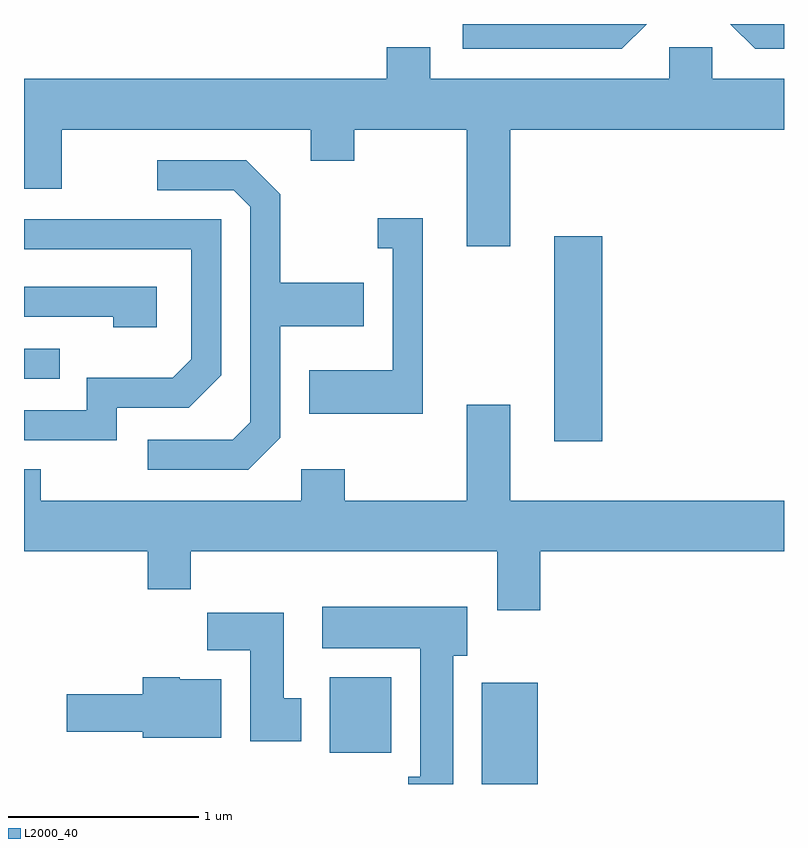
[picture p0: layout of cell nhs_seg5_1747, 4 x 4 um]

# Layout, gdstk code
import gdstk
lib = gdstk.Library(unit=1e-6, precision=1e-09)
def R(c, l, rs):  # rectangles x0, y0, x1, y1
    for r in rs: c.add(gdstk.rectangle(r[:2], r[2:], *l))
def P(c, l, *ps):  # polygons
    for p in ps: c.add(gdstk.Polygon(p, *l))
L2000_40 = (2000, 40)

nhs_seg5_1747 = lib.new_cell('nhs_seg5_1747')
R(nhs_seg5_1747, L2000_40, [(240.021,1400.072,240.314,1400.604), (239.221,1400.236,239.544,1400.634), (240.401,1401.876,240.654,1402.954), (237.611,1402.206,237.798,1402.364)])
P(nhs_seg5_1747, L2000_40, [(241.611,1404.072),(241.328,1404.072),(241.459,1403.941),(241.611,1403.941)],
  [(240.888,1404.072),(239.921,1404.072),(239.921,1403.941),(240.757,1403.941)],
  [(240.169,1403.516),(241.611,1403.516),(241.611,1403.784),(241.234,1403.784),(241.234,1403.949),(241.006,1403.949),(241.006,1403.784),(239.749,1403.784),(239.749,1403.949),(239.521,1403.949),(239.521,1403.784),(237.611,1403.784),(237.611,1403.206),(237.809,1403.206),(237.809,1403.516),(239.121,1403.516),(239.121,1403.351),(239.349,1403.351),(239.349,1403.516),(239.941,1403.516),(239.941,1402.901),(240.169,1402.901)],
  [(238.959,1401.894),(238.959,1402.481),(239.399,1402.481),(239.399,1402.709),(238.959,1402.709),(238.959,1403.177),(238.782,1403.354),(238.313,1403.354),(238.313,1403.196),(238.714,1403.196),(238.801,1403.109),(238.801,1401.977),(238.709,1401.884),(238.263,1401.884),(238.263,1401.726),(238.792,1401.726)],
  [(239.709,1403.049),(239.473,1403.049),(239.473,1402.891),(239.551,1402.891),(239.551,1402.249),(239.111,1402.249),(239.111,1402.021),(239.709,1402.021)],
  [(238.099,1402.051),(238.477,1402.051),(238.649,1402.224),(238.649,1403.044),(237.611,1403.044),(237.611,1402.886),(238.491,1402.886),(238.491,1402.307),(238.394,1402.209),(237.941,1402.209),(237.941,1402.039),(237.611,1402.039),(237.611,1401.881),(238.099,1401.881)],
  [(238.309,1402.689),(237.611,1402.689),(237.611,1402.531),(238.081,1402.531),(238.081,1402.476),(238.309,1402.476)],
  [(240.329,1401.296),(241.611,1401.296),(241.611,1401.564),(240.169,1401.564),(240.169,1402.069),(239.941,1402.069),(239.941,1401.564),(239.299,1401.564),(239.299,1401.729),(239.071,1401.729),(239.071,1401.564),(237.699,1401.564),(237.699,1401.729),(237.611,1401.729),(237.611,1401.296),(238.261,1401.296),(238.261,1401.096),(238.489,1401.096),(238.489,1401.296),(240.101,1401.296),(240.101,1400.986),(240.329,1400.986)],
  [(239.869,1400.746),(239.944,1400.746),(239.944,1401.004),(239.181,1401.004),(239.181,1400.786),(239.696,1400.786),(239.696,1400.109),(239.633,1400.109),(239.633,1400.072),(239.869,1400.072)],
  [(239.069,1400.524),(238.979,1400.524),(238.979,1400.974),(238.576,1400.974),(238.576,1400.776),(238.801,1400.776),(238.801,1400.296),(239.069,1400.296)],
  [(238.649,1400.624),(238.43,1400.624),(238.43,1400.634),(238.236,1400.634),(238.236,1400.544),(237.836,1400.544),(237.836,1400.346),(238.236,1400.346),(238.236,1400.316),(238.649,1400.316)])

lib.write_gds('nhs_seg5_1747.gds')
